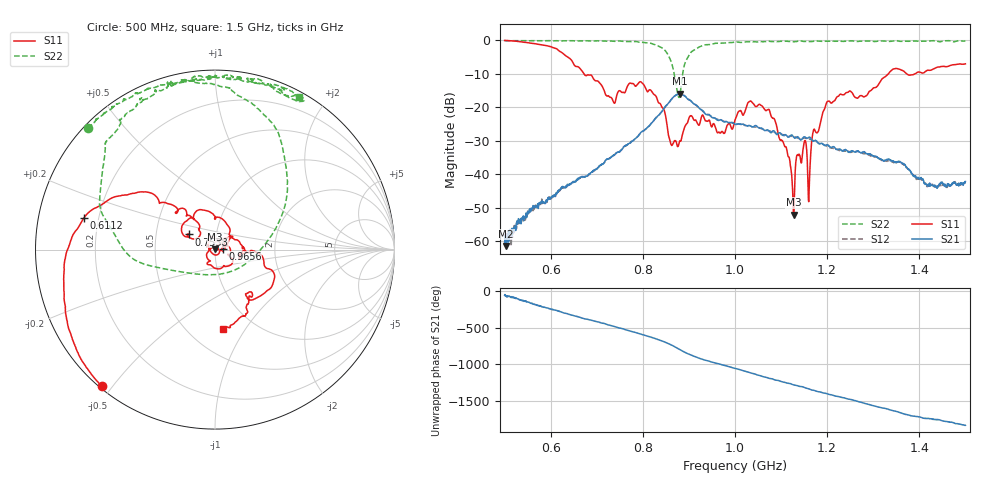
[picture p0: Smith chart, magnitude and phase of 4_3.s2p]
!Agilent Technologies,E8364B,US42250235,A.06.04.32
!Agilent E8364B: A.06.04.32
!Date: Friday, January 15, 2021 16:13:58
!Correction: S11(Full 2 Port(1,2)) S21(Full 2 Port(1,2)) S12(Full 2 Port(1,2)) S22(Full 2 Port(1,2))
!S2P File: Measurements: S11, S21, S12, S22:
# Hz S  dB  R 50
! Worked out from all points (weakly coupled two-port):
!   1601 points, 500 MHz to 1.5 GHz, reference 50 ohm
!   highest |S21| = -16.02 dB at 880.6 MHz (marker M1); lowest = -61.5 dB at 503.1 MHz (marker M2)
!   lowest |S11| = -52.1 dB at 1.127 GHz (marker M3), VSWR 1.00, Z = 50 + j0.247 ohm
!   |S11| at or under -10 dB: 672 MHz to 1.333 GHz (661.3 MHz wide, 66 % of centre); 1.372 GHz to 1.392 GHz (19.99 MHz wide, 1.45 % of centre)
!   |S22| runs from -17.1 to -0.1 dB; largest |S21 - S12| = 0.0042
!   S11 on the Smith chart (normalised r, x): 500 MHz: 0.01, -0.47; 611.2 MHz: 0.14, +0.12; 753.8 MHz: 0.74, +0.13; 965.6 MHz: 1.09, +0.01; 1.5 GHz: 0.73, -0.79
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5e8  -0.11 -129.5  -58.25 -57.6  -60.69 -72.2  -0.17 136.2
5.03125e8  -0.12 -130.9  -61.46 -70.5  -58.33 -64.0  -0.17 135.9
6.1125e8  -2.49 166.4  -45.90 96.1  -46.29 95.8  -0.20 124.1
6.66875e8  -8.98 134.6  -40.90 -8.3  -41.10 -7.9  -0.22 116.6
7.5375e8  -15.58 149.4  -32.82 -150.5  -32.75 -150.3  -0.35 105.9
8.3375e8  -18.67 47.7  -22.51 55.6  -22.47 56.3  -1.77 72.3
8.6125e8  -31.12 -14.1  -17.80 -13.5  -17.85 -11.6  -6.41 34.2
8.80625e8  -30.11 169.7  -16.02 -80.4  -16.07 -79.2  -16.34 -113.8
9.05625e8  -22.61 111.3  -18.32 -156.4  -18.44 -155.6  -3.49 161.4
9.65625e8  -27.50 6.5  -23.92 86.6  -23.84 86.0  -0.96 124.8
1e9  -23.90 23.5  -25.13 24.7  -25.02 26.2  -0.58 115.6
1.0325e9  -18.22 -37.8  -25.56 -33.2  -25.88 -32.3  -0.50 110.4
1.073125e9  -20.66 -116.4  -26.99 -107.6  -27.12 -105.2  -0.34 104.7
1.11375e9  -33.76 147.0  -28.78 -175.9  -28.86 -173.5  -0.37 101.3
1.1275e9  -52.10 82.6  -28.99 160.3  -28.88 163.4  -0.48 97.1
1.13625e9  -34.18 23.6  -28.90 148.1  -29.27 147.6  -0.33 94.1
1.151875e9  -29.99 58.3  -28.98 121.7  -29.24 122.9  -0.41 96.8
1.160625e9  -45.57 130.5  -29.00 106.0  -29.54 106.1  -0.44 94.5
1.166875e9  -29.68 98.5  -29.82 90.3  -29.87 93.9  -0.39 91.6
1.20125e9  -18.28 37.9  -31.33 37.0  -31.83 37.0  -0.34 90.4
1.33375e9  -9.92 -19.6  -35.65 -174.5  -36.06 -172.1  -0.39 77.1
1.5e9  -7.09 -84.3  -42.23 -29.7  -42.89 -33.6  -0.26 61.2
